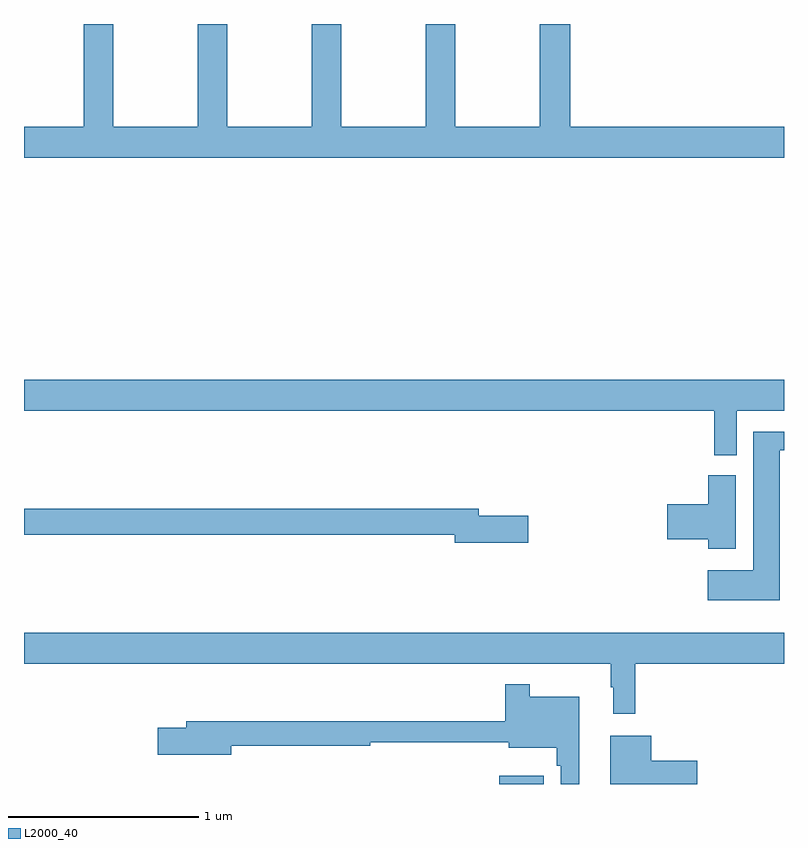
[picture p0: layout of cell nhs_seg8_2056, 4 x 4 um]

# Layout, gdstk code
import gdstk
lib = gdstk.Library(unit=1e-6, precision=1e-09)
def R(c, l, rs):  # rectangles x0, y0, x1, y1
    for r in rs: c.add(gdstk.rectangle(r[:2], r[2:], *l))
def P(c, l, *ps):  # polygons
    for p in ps: c.add(gdstk.Polygon(p, *l))
L2000_40 = (2000, 40)

nhs_seg8_2056 = lib.new_cell('nhs_seg8_2056')
R(nhs_seg8_2056, L2000_40, [(243.5,1083.9,243.736,1083.943)])
P(nhs_seg8_2056, L2000_40, [(245,1087.36),(243.875,1087.36),(243.875,1087.9),(243.715,1087.9),(243.715,1087.36),(243.27,1087.36),(243.27,1087.9),(243.115,1087.9),(243.115,1087.36),(242.67,1087.36),(242.67,1087.9),(242.515,1087.9),(242.515,1087.36),(242.07,1087.36),(242.07,1087.9),(241.915,1087.9),(241.915,1087.36),(241.47,1087.36),(241.47,1087.9),(241.315,1087.9),(241.315,1087.36),(241,1087.36),(241,1087.196),(245,1087.196)],
  [(244.75,1085.864),(245,1085.864),(245,1086.028),(241,1086.028),(241,1085.864),(244.632,1085.864),(244.632,1085.631),(244.75,1085.631)],
  [(244.978,1085.657),(245,1085.657),(245,1085.754),(244.838,1085.754),(244.838,1085.026),(244.598,1085.026),(244.598,1084.868),(244.978,1084.868)],
  [(244.747,1085.524),(244.601,1085.524),(244.601,1085.372),(244.386,1085.372),(244.386,1085.189),(244.601,1085.189),(244.601,1085.139),(244.747,1085.139)],
  [(243.655,1085.312),(243.394,1085.312),(243.394,1085.348),(241,1085.348),(241,1085.212),(243.266,1085.212),(243.266,1085.17),(243.655,1085.17)],
  [(244.217,1084.532),(245,1084.532),(245,1084.696),(241,1084.696),(241,1084.532),(244.089,1084.532),(244.089,1084.409),(244.1,1084.409),(244.1,1084.269),(244.217,1084.269)],
  [(243.922,1084.36),(243.661,1084.36),(243.661,1084.426),(243.532,1084.426),(243.532,1084.231),(241.853,1084.231),(241.853,1084.197),(241.704,1084.197),(241.704,1084.055),(242.092,1084.055),(242.092,1084.102),(242.822,1084.102),(242.822,1084.12),(243.551,1084.12),(243.551,1084.091),(243.805,1084.091),(243.805,1083.995),(243.825,1083.995),(243.825,1083.9),(243.922,1083.9)],
  [(244.543,1084.022),(244.3,1084.022),(244.3,1084.153),(244.085,1084.153),(244.085,1083.9),(244.543,1083.9)])

lib.write_gds('nhs_seg8_2056.gds')
